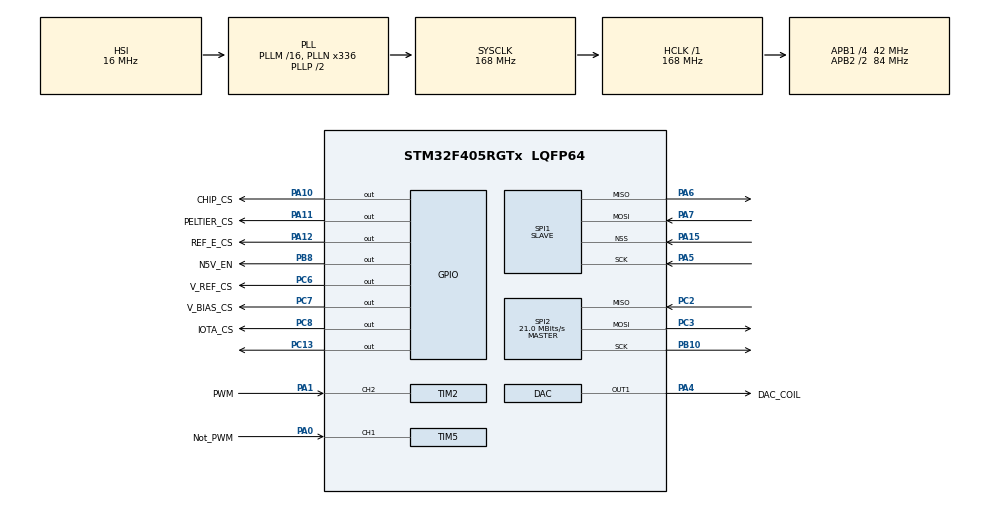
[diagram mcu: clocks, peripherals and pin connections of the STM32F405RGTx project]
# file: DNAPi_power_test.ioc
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Mcu.Family=STM32F4
Mcu.Name=STM32F405RGTx
Mcu.Package=LQFP64
NVIC.PriorityGroup=NVIC_PRIORITYGROUP_4
NVIC.SPI1_IRQn=true\:0\:0\:false\:false\:true\:true\:true
PA0-WKUP.GPIO_Label=Not_PWM
PA0-WKUP.Signal=S_TIM5_CH1
PA1.GPIO_Label=PWM
PA1.Signal=S_TIM2_CH2
PA10.GPIO_Label=CHIP_CS
PA10.PinState=GPIO_PIN_SET
PA10.Signal=GPIO_Output
PA11.GPIO_Label=PELTIER_CS
PA11.PinState=GPIO_PIN_SET
PA11.Signal=GPIO_Output
PA12.GPIO_Label=REF_E_CS
PA12.PinState=GPIO_PIN_SET
PA12.Signal=GPIO_Output
PA15.Mode=NSS_Signal_Hard_Input
PA15.Signal=SPI1_NSS
PA4.GPIO_Label=DAC_COIL
PA4.Signal=COMP_DAC1_group
PA5.Mode=Full_Duplex_Slave
PA5.Signal=SPI1_SCK
PA6.Mode=Full_Duplex_Slave
PA6.Signal=SPI1_MISO
PA7.Mode=Full_Duplex_Slave
PA7.Signal=SPI1_MOSI
PB10.Mode=Full_Duplex_Master
PB10.Signal=SPI2_SCK
PB8.GPIO_Label=N5V_EN
PB8.Signal=GPIO_Output
PC13-ANTI_TAMP.Signal=GPIO_Output
PC2.Mode=Full_Duplex_Master
PC2.Signal=SPI2_MISO
PC3.Mode=Full_Duplex_Master
PC3.Signal=SPI2_MOSI
PC6.GPIO_Label=V_REF_CS
PC6.PinState=GPIO_PIN_SET
PC6.Signal=GPIO_Output
PC7.GPIO_Label=V_BIAS_CS
PC7.PinState=GPIO_PIN_SET
PC7.Signal=GPIO_Output
PC8.GPIO_Label=IOTA_CS
PC8.PinState=GPIO_PIN_SET
PC8.Signal=GPIO_Output
ProjectManager.HeapSize=0x200
ProjectManager.StackSize=0x400
ProjectManager.TargetToolchain=MDK-ARM V5
RCC.48MHZClocksFreq_Value=84000000
RCC.AHBFreq_Value=168000000
RCC.APB1CLKDivider=RCC_HCLK_DIV4
RCC.APB1Freq_Value=42000000
RCC.APB1TimFreq_Value=84000000
RCC.APB2CLKDivider=RCC_HCLK_DIV2
RCC.APB2Freq_Value=84000000
RCC.APB2TimFreq_Value=168000000
RCC.CortexFreq_Value=168000000
RCC.HCLKFreq_Value=168000000
RCC.HSE_VALUE=25000000
RCC.HSI_VALUE=16000000
RCC.LSE_VALUE=32768
RCC.PLLN=336
RCC.SYSCLKFreq_VALUE=168000000
RCC.SYSCLKSource=RCC_SYSCLKSOURCE_PLLCLK
RCC.VCOOutputFreq_Value=336000000
SH.COMP_DAC1_group.0=DAC_OUT1,DAC_OUT1
SH.S_TIM2_CH2.0=TIM2_CH2,PWM_Input_2
SH.S_TIM5_CH1.0=TIM5_CH1,PWM_Input_1
SPI1.Direction=SPI_DIRECTION_2LINES
SPI1.Mode=SPI_MODE_SLAVE
SPI1.VirtualNSS=VM_NSSHARD
SPI1.VirtualType=VM_SLAVE
SPI2.BaudRatePrescaler=SPI_BAUDRATEPRESCALER_2
SPI2.CLKPhase=SPI_PHASE_2EDGE
SPI2.CalculateBaudRate=21.0 MBits/s
SPI2.Direction=SPI_DIRECTION_2LINES
SPI2.Mode=SPI_MODE_MASTER
SPI2.VirtualType=VM_MASTER
board=custom

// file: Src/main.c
/* USER CODE BEGIN Header */
/**
  ******************************************************************************
  * @file           : main.c
  * @brief          : Main program body
  ******************************************************************************
  * @attention
  *
  * <h2><center>&copy; Copyright (c) 2019 STMicroelectronics.
  * All rights reserved.</center></h2>
  *
  * This software component is licensed by ST under BSD 3-Clause license,
  * the "License"; You may not use this file except in compliance with the
  * License. You may obtain a copy of the License at:
  *                        opensource.org/licenses/BSD-3-Clause
  *
  ******************************************************************************
  */
/* USER CODE END Header */

#include "main.h"

DAC_HandleTypeDef hdac;

SPI_HandleTypeDef hspi1;
SPI_HandleTypeDef hspi2;

TIM_HandleTypeDef htim2;
TIM_HandleTypeDef htim5;

/* USER CODE BEGIN PV */
uint16_t buf[2];
uint16_t tx[2] = {0x00AB, 0x00CD};
int counter=0;
uint16_t data_to_send;
volatile int spi_int_counter = 0;
volatile int ctrl = 0;
/* USER CODE END PV */

void SystemClock_Config(void);
static void MX_GPIO_Init(void);
static void MX_SPI1_Init(void);
static void MX_SPI2_Init(void);
static void MX_TIM2_Init(void);
static void MX_TIM5_Init(void);
static void MX_DAC_Init(void);

int main(void)
{

  /* MCU Configuration--------------------------------------------------------*/

  /* Reset of all peripherals, Initializes the Flash interface and the Systick. */
  HAL_Init();

  /* Configure the system clock */
  SystemClock_Config();

  /* Initialize all configured peripherals */
  MX_GPIO_Init();
  MX_SPI1_Init();
  MX_SPI2_Init();
  MX_TIM2_Init();
  MX_TIM5_Init();
  MX_DAC_Init();
	//HAL_GPIO_WritePin(GPIOC, GPIO_PIN_13, GPIO_PIN_SET);
	HAL_GPIO_WritePin(N5V_EN_GPIO_Port, N5V_EN_Pin, GPIO_PIN_SET);
  /* Infinite loop */
  /* USER CODE BEGIN WHILE */

	data_to_send = 0xC826;
	HAL_GPIO_WritePin(GPIOC, V_REF_CS_Pin, GPIO_PIN_RESET);
	HAL_GPIO_WritePin(GPIOC, V_BIAS_CS_Pin, GPIO_PIN_RESET);
	HAL_GPIO_WritePin(GPIOC, IOTA_CS_Pin, GPIO_PIN_RESET);

	HAL_SPI_Transmit(&hspi2, (uint8_t*)&data_to_send, 2, 256);

	HAL_GPIO_WritePin(GPIOC, V_REF_CS_Pin, GPIO_PIN_SET);
	HAL_GPIO_WritePin(GPIOC, V_BIAS_CS_Pin, GPIO_PIN_SET);
	HAL_GPIO_WritePin(GPIOC, IOTA_CS_Pin, GPIO_PIN_SET);
	HAL_Delay(1000);

	HAL_GPIO_WritePin(GPIOA, PELTIER_CS_Pin, GPIO_PIN_RESET);
	HAL_SPI_Transmit(&hspi2, (uint8_t*)&data_to_send, 2, 256);
	HAL_GPIO_WritePin(GPIOA, PELTIER_CS_Pin, GPIO_PIN_SET);

  while (1)
  {

		data_to_send = 0xC826;
	HAL_GPIO_WritePin(GPIOC, V_REF_CS_Pin, GPIO_PIN_RESET);
	HAL_GPIO_WritePin(GPIOC, V_BIAS_CS_Pin, GPIO_PIN_RESET);
	HAL_GPIO_WritePin(GPIOC, IOTA_CS_Pin, GPIO_PIN_RESET);

	HAL_SPI_Transmit(&hspi2, (uint8_t*)&data_to_send, 2, 256);

	HAL_GPIO_WritePin(GPIOC, V_REF_CS_Pin, GPIO_PIN_SET);
	HAL_GPIO_WritePin(GPIOC, V_BIAS_CS_Pin, GPIO_PIN_SET);
	HAL_GPIO_WritePin(GPIOC, IOTA_CS_Pin, GPIO_PIN_SET);
	HAL_Delay(1000);

	HAL_GPIO_WritePin(GPIOA, PELTIER_CS_Pin, GPIO_PIN_RESET);
	HAL_SPI_Transmit(&hspi2, (uint8_t*)&data_to_send, 2, 256);
	HAL_GPIO_WritePin(GPIOA, PELTIER_CS_Pin, GPIO_PIN_SET);
	HAL_Delay(1000);

		counter ++;

		for (int i = 0; i<4095; i++){
		uint16_t DAC_val = (i)<<2;
		data_to_send = (((DAC_val & 0xFF)<<8) + (DAC_val >> 8));
		HAL_GPIO_WritePin(GPIOA, REF_E_CS_Pin, GPIO_PIN_RESET);
		HAL_SPI_Transmit(&hspi2, (uint8_t*)&data_to_send, 2, 256);
		HAL_GPIO_WritePin(GPIOA, REF_E_CS_Pin, GPIO_PIN_SET);
		HAL_Delay(1);
		}

    /* USER CODE END WHILE */

  }
}

void SystemClock_Config(void)
{
  RCC_OscInitTypeDef RCC_OscInitStruct = {0};
  RCC_ClkInitTypeDef RCC_ClkInitStruct = {0};

  /** Configure the main internal regulator output voltage
  */
  __HAL_RCC_PWR_CLK_ENABLE();
  __HAL_PWR_VOLTAGESCALING_CONFIG(PWR_REGULATOR_VOLTAGE_SCALE1);
  /** Initializes the CPU, AHB and APB busses clocks
  */
  RCC_OscInitStruct.OscillatorType = RCC_OSCILLATORTYPE_HSI;
  RCC_OscInitStruct.HSIState = RCC_HSI_ON;
  RCC_OscInitStruct.HSICalibrationValue = RCC_HSICALIBRATION_DEFAULT;
  RCC_OscInitStruct.PLL.PLLState = RCC_PLL_ON;
  RCC_OscInitStruct.PLL.PLLSource = RCC_PLLSOURCE_HSI;
  RCC_OscInitStruct.PLL.PLLM = 16;
  RCC_OscInitStruct.PLL.PLLN = 336;
  RCC_OscInitStruct.PLL.PLLP = RCC_PLLP_DIV2;
  RCC_OscInitStruct.PLL.PLLQ = 4;
  if (HAL_RCC_OscConfig(&RCC_OscInitStruct) != HAL_OK)
  {
    Error_Handler();
  }
  /** Initializes the CPU, AHB and APB busses clocks
  */
  RCC_ClkInitStruct.ClockType = RCC_CLOCKTYPE_HCLK|RCC_CLOCKTYPE_SYSCLK
                              |RCC_CLOCKTYPE_PCLK1|RCC_CLOCKTYPE_PCLK2;
  RCC_ClkInitStruct.SYSCLKSource = RCC_SYSCLKSOURCE_PLLCLK;
  RCC_ClkInitStruct.AHBCLKDivider = RCC_SYSCLK_DIV1;
  RCC_ClkInitStruct.APB1CLKDivider = RCC_HCLK_DIV4;
  RCC_ClkInitStruct.APB2CLKDivider = RCC_HCLK_DIV2;

  if (HAL_RCC_ClockConfig(&RCC_ClkInitStruct, FLASH_LATENCY_5) != HAL_OK)
  {
    Error_Handler();
  }
}

static void MX_DAC_Init(void)
{

  DAC_ChannelConfTypeDef sConfig = {0};

  /** DAC Initialization
  */
  hdac.Instance = DAC;
  if (HAL_DAC_Init(&hdac) != HAL_OK)
  {
    Error_Handler();
  }
  /** DAC channel OUT1 config
  */
  sConfig.DAC_Trigger = DAC_TRIGGER_NONE;
  sConfig.DAC_OutputBuffer = DAC_OUTPUTBUFFER_ENABLE;
  if (HAL_DAC_ConfigChannel(&hdac, &sConfig, DAC_CHANNEL_1) != HAL_OK)
  {
    Error_Handler();
  }

}

static void MX_SPI1_Init(void)
{

  /* SPI1 parameter configuration*/
  hspi1.Instance = SPI1;
  hspi1.Init.Mode = SPI_MODE_SLAVE;
  hspi1.Init.Direction = SPI_DIRECTION_2LINES;
  hspi1.Init.DataSize = SPI_DATASIZE_8BIT;
  hspi1.Init.CLKPolarity = SPI_POLARITY_LOW;
  hspi1.Init.CLKPhase = SPI_PHASE_1EDGE;
  hspi1.Init.NSS = SPI_NSS_HARD_INPUT;
  hspi1.Init.FirstBit = SPI_FIRSTBIT_MSB;
  hspi1.Init.TIMode = SPI_TIMODE_DISABLE;
  hspi1.Init.CRCCalculation = SPI_CRCCALCULATION_DISABLE;
  hspi1.Init.CRCPolynomial = 10;
  if (HAL_SPI_Init(&hspi1) != HAL_OK)
  {
    Error_Handler();
  }

}

static void MX_SPI2_Init(void)
{

  /* SPI2 parameter configuration*/
  hspi2.Instance = SPI2;
  hspi2.Init.Mode = SPI_MODE_MASTER;
  hspi2.Init.Direction = SPI_DIRECTION_2LINES;
  hspi2.Init.DataSize = SPI_DATASIZE_8BIT;
  hspi2.Init.CLKPolarity = SPI_POLARITY_LOW;
  hspi2.Init.CLKPhase = SPI_PHASE_2EDGE;
  hspi2.Init.NSS = SPI_NSS_SOFT;
  hspi2.Init.BaudRatePrescaler = SPI_BAUDRATEPRESCALER_2;
  hspi2.Init.FirstBit = SPI_FIRSTBIT_MSB;
  hspi2.Init.TIMode = SPI_TIMODE_DISABLE;
  hspi2.Init.CRCCalculation = SPI_CRCCALCULATION_DISABLE;
  hspi2.Init.CRCPolynomial = 10;
  if (HAL_SPI_Init(&hspi2) != HAL_OK)
  {
    Error_Handler();
  }

}

static void MX_TIM2_Init(void)
{

  TIM_SlaveConfigTypeDef sSlaveConfig = {0};
  TIM_IC_InitTypeDef sConfigIC = {0};
  TIM_MasterConfigTypeDef sMasterConfig = {0};

  htim2.Instance = TIM2;
  htim2.Init.Prescaler = 0;
  htim2.Init.CounterMode = TIM_COUNTERMODE_UP;
  htim2.Init.Period = 0;
  htim2.Init.ClockDivision = TIM_CLOCKDIVISION_DIV1;
  htim2.Init.AutoReloadPreload = TIM_AUTORELOAD_PRELOAD_DISABLE;
  if (HAL_TIM_IC_Init(&htim2) != HAL_OK)
  {
    Error_Handler();
  }
  sSlaveConfig.SlaveMode = TIM_SLAVEMODE_RESET;
  sSlaveConfig.InputTrigger = TIM_TS_TI2FP2;
  sSlaveConfig.TriggerPolarity = TIM_INPUTCHANNELPOLARITY_FALLING;
  sSlaveConfig.TriggerPrescaler = TIM_ICPSC_DIV1;
  sSlaveConfig.TriggerFilter = 0;
  if (HAL_TIM_SlaveConfigSynchro(&htim2, &sSlaveConfig) != HAL_OK)
  {
    Error_Handler();
  }
  sConfigIC.ICPolarity = TIM_INPUTCHANNELPOLARITY_RISING;
  sConfigIC.ICSelection = TIM_ICSELECTION_INDIRECTTI;
  sConfigIC.ICPrescaler = TIM_ICPSC_DIV1;
  sConfigIC.ICFilter = 0;
  if (HAL_TIM_IC_ConfigChannel(&htim2, &sConfigIC, TIM_CHANNEL_1) != HAL_OK)
  {
    Error_Handler();
  }
  sConfigIC.ICPolarity = TIM_INPUTCHANNELPOLARITY_FALLING;
  sConfigIC.ICSelection = TIM_ICSELECTION_DIRECTTI;
  if (HAL_TIM_IC_ConfigChannel(&htim2, &sConfigIC, TIM_CHANNEL_2) != HAL_OK)
  {
    Error_Handler();
  }
  sMasterConfig.MasterOutputTrigger = TIM_TRGO_RESET;
  sMasterConfig.MasterSlaveMode = TIM_MASTERSLAVEMODE_DISABLE;
  if (HAL_TIMEx_MasterConfigSynchronization(&htim2, &sMasterConfig) != HAL_OK)
  {
    Error_Handler();
  }

}

static void MX_TIM5_Init(void)
{

  TIM_SlaveConfigTypeDef sSlaveConfig = {0};
  TIM_IC_InitTypeDef sConfigIC = {0};
  TIM_MasterConfigTypeDef sMasterConfig = {0};

  htim5.Instance = TIM5;
  htim5.Init.Prescaler = 0;
  htim5.Init.CounterMode = TIM_COUNTERMODE_UP;
  htim5.Init.Period = 0;
  htim5.Init.ClockDivision = TIM_CLOCKDIVISION_DIV1;
  htim5.Init.AutoReloadPreload = TIM_AUTORELOAD_PRELOAD_DISABLE;
  if (HAL_TIM_IC_Init(&htim5) != HAL_OK)
  {
    Error_Handler();
  }
  sSlaveConfig.SlaveMode = TIM_SLAVEMODE_RESET;
  sSlaveConfig.InputTrigger = TIM_TS_TI1FP1;
  sSlaveConfig.TriggerPolarity = TIM_INPUTCHANNELPOLARITY_RISING;
  sSlaveConfig.TriggerPrescaler = TIM_ICPSC_DIV1;
  sSlaveConfig.TriggerFilter = 0;
  if (HAL_TIM_SlaveConfigSynchro(&htim5, &sSlaveConfig) != HAL_OK)
  {
    Error_Handler();
  }
  sConfigIC.ICPolarity = TIM_INPUTCHANNELPOLARITY_RISING;
  sConfigIC.ICSelection = TIM_ICSELECTION_DIRECTTI;
  sConfigIC.ICPrescaler = TIM_ICPSC_DIV1;
  sConfigIC.ICFilter = 0;
  if (HAL_TIM_IC_ConfigChannel(&htim5, &sConfigIC, TIM_CHANNEL_1) != HAL_OK)
  {
    Error_Handler();
  }
  sConfigIC.ICPolarity = TIM_INPUTCHANNELPOLARITY_FALLING;
  sConfigIC.ICSelection = TIM_ICSELECTION_INDIRECTTI;
  if (HAL_TIM_IC_ConfigChannel(&htim5, &sConfigIC, TIM_CHANNEL_2) != HAL_OK)
  {
    Error_Handler();
  }
  sMasterConfig.MasterOutputTrigger = TIM_TRGO_RESET;
  sMasterConfig.MasterSlaveMode = TIM_MASTERSLAVEMODE_DISABLE;
  if (HAL_TIMEx_MasterConfigSynchronization(&htim5, &sMasterConfig) != HAL_OK)
  {
    Error_Handler();
  }

}

static void MX_GPIO_Init(void)
{
  GPIO_InitTypeDef GPIO_InitStruct = {0};

  /* GPIO Ports Clock Enable */
  __HAL_RCC_GPIOC_CLK_ENABLE();
  __HAL_RCC_GPIOA_CLK_ENABLE();
  __HAL_RCC_GPIOB_CLK_ENABLE();

  /*Configure GPIO pin Output Level */
  HAL_GPIO_WritePin(GPIOC, GPIO_PIN_13, GPIO_PIN_RESET);

  /*Configure GPIO pin Output Level */
  HAL_GPIO_WritePin(GPIOC, V_REF_CS_Pin|V_BIAS_CS_Pin|IOTA_CS_Pin, GPIO_PIN_SET);

  /*Configure GPIO pin Output Level */
  HAL_GPIO_WritePin(GPIOA, CHIP_CS_Pin|PELTIER_CS_Pin|REF_E_CS_Pin, GPIO_PIN_SET);

  /*Configure GPIO pin Output Level */
  HAL_GPIO_WritePin(N5V_EN_GPIO_Port, N5V_EN_Pin, GPIO_PIN_RESET);

  /*Configure GPIO pins : PC13 V_REF_CS_Pin V_BIAS_CS_Pin IOTA_CS_Pin */
  GPIO_InitStruct.Pin = GPIO_PIN_13|V_REF_CS_Pin|V_BIAS_CS_Pin|IOTA_CS_Pin;
  GPIO_InitStruct.Mode = GPIO_MODE_OUTPUT_PP;
  GPIO_InitStruct.Pull = GPIO_NOPULL;
  GPIO_InitStruct.Speed = GPIO_SPEED_FREQ_LOW;
  HAL_GPIO_Init(GPIOC, &GPIO_InitStruct);

  /*Configure GPIO pins : CHIP_CS_Pin PELTIER_CS_Pin REF_E_CS_Pin */
  GPIO_InitStruct.Pin = CHIP_CS_Pin|PELTIER_CS_Pin|REF_E_CS_Pin;
  GPIO_InitStruct.Mode = GPIO_MODE_OUTPUT_PP;
  GPIO_InitStruct.Pull = GPIO_NOPULL;
  GPIO_InitStruct.Speed = GPIO_SPEED_FREQ_LOW;
  HAL_GPIO_Init(GPIOA, &GPIO_InitStruct);

  /*Configure GPIO pin : N5V_EN_Pin */
  GPIO_InitStruct.Pin = N5V_EN_Pin;
  GPIO_InitStruct.Mode = GPIO_MODE_OUTPUT_PP;
  GPIO_InitStruct.Pull = GPIO_NOPULL;
  GPIO_InitStruct.Speed = GPIO_SPEED_FREQ_LOW;
  HAL_GPIO_Init(N5V_EN_GPIO_Port, &GPIO_InitStruct);

}

void Error_Handler(void)
{
}

/************************ (C) COPYRIGHT STMicroelectronics *****END OF FILE****/
